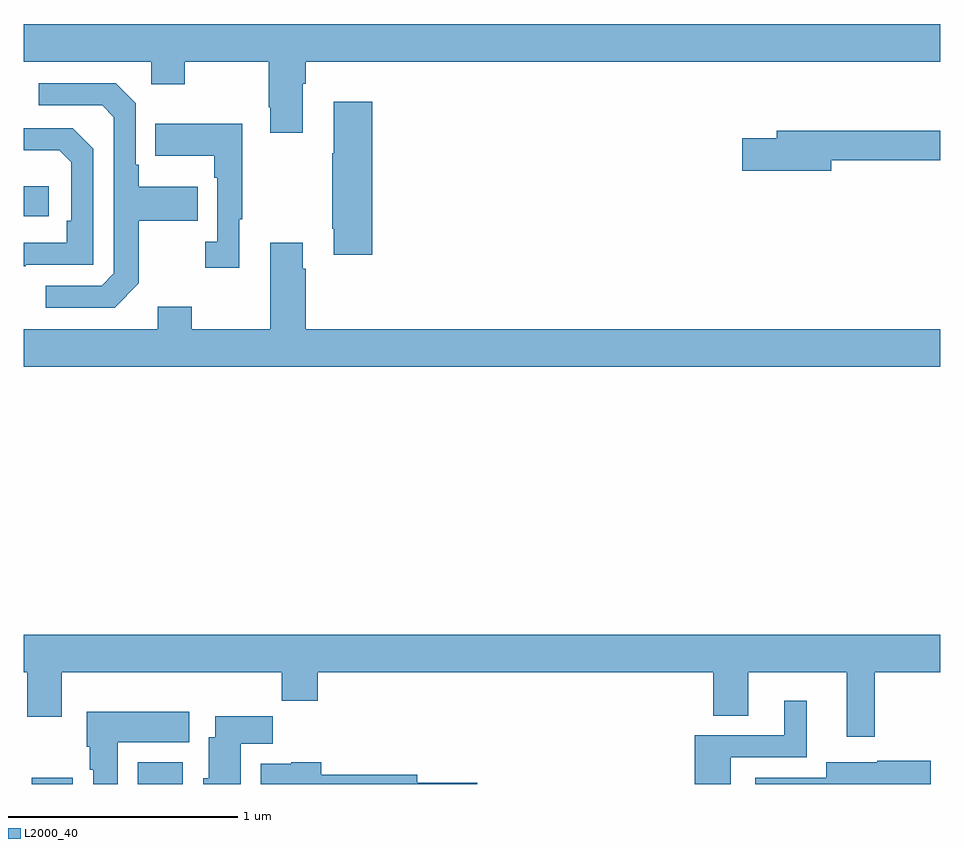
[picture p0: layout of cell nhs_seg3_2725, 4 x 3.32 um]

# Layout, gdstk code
import gdstk
lib = gdstk.Library(unit=1e-6, precision=1e-09)
def R(c, l, rs):  # rectangles x0, y0, x1, y1
    for r in rs: c.add(gdstk.rectangle(r[:2], r[2:], *l))
def P(c, l, *ps):  # polygons
    for p in ps: c.add(gdstk.Polygon(p, *l))
L2000_40 = (2000, 40)

nhs_seg3_2725 = lib.new_cell('nhs_seg3_2725')
R(nhs_seg3_2725, L2000_40, [(251.036,728.4,251.215,728.428), (251.499,728.4,251.695,728.494), (251,730.878,251.11,731.008)])
P(nhs_seg3_2725, L2000_40, [(252.217,731.456),(252.23,731.456),(252.23,731.552),(255,731.552),(255,731.716),(251,731.716),(251,731.552),(251.556,731.552),(251.556,731.453),(251.703,731.453),(251.703,731.552),(252.07,731.552),(252.07,731.353),(252.077,731.353),(252.077,731.241),(252.217,731.241)],
  [(251.503,730.585),(251.503,730.858),(251.759,730.858),(251.759,731.005),(251.503,731.005),(251.503,731.101),(251.49,731.101),(251.49,731.37),(251.403,731.457),(251.067,731.457),(251.067,731.361),(251.343,731.361),(251.394,731.31),(251.394,730.629),(251.34,730.575),(251.097,730.575),(251.097,730.479),(251.397,730.479)],
  [(252.521,731.377),(252.353,731.377),(252.353,731.153),(252.346,731.153),(252.346,730.822),(252.353,730.822),(252.353,730.71),(252.521,730.71)],
  [(251.941,730.865),(251.953,730.865),(251.953,731.281),(251.575,731.281),(251.575,731.141),(251.832,731.141),(251.832,731.045),(251.844,731.045),(251.844,730.766),(251.793,730.766),(251.793,730.653),(251.941,730.653)],
  [(251.009,730.665),(251.304,730.665),(251.304,731.172),(251.214,731.262),(251,731.262),(251,731.165),(251.155,731.165),(251.208,731.112),(251.208,730.858),(251.188,730.858),(251.188,730.761),(251,730.761),(251,730.66),(251.009,730.66)],
  [(254.524,731.122),(255,731.122),(255,731.251),(254.285,731.251),(254.285,731.217),(254.136,731.217),(254.136,731.075),(254.524,731.075)],
  [(255,730.384),(252.23,730.384),(252.23,730.649),(252.217,730.649),(252.217,730.762),(252.077,730.762),(252.077,730.384),(251.733,730.384),(251.733,730.483),(251.585,730.483),(251.585,730.384),(251,730.384),(251,730.22),(255,730.22)],
  [(254.713,728.888),(255,728.888),(255,729.052),(251,729.052),(251,728.888),(251.015,728.888),(251.015,728.694),(251.167,728.694),(251.167,728.888),(252.127,728.888),(252.127,728.764),(252.284,728.764),(252.284,728.888),(254.009,728.888),(254.009,728.698),(254.161,728.698),(254.161,728.888),(254.591,728.888),(254.591,728.607),(254.713,728.607)],
  [(254.086,728.517),(254.416,728.517),(254.416,728.764),(254.318,728.764),(254.318,728.613),(253.928,728.613),(253.928,728.4),(254.086,728.4)],
  [(251.41,728.582),(251.722,728.582),(251.722,728.716),(251.276,728.716),(251.276,728.562),(251.288,728.562),(251.288,728.462),(251.303,728.462),(251.303,728.4),(251.41,728.4)],
  [(251.947,728.576),(252.086,728.576),(252.086,728.695),(251.837,728.695),(251.837,728.605),(251.807,728.605),(251.807,728.424),(251.783,728.424),(251.783,728.4),(251.947,728.4)],
  [(254.959,728.502),(254.724,728.502),(254.724,728.494),(254.501,728.494),(254.501,728.427),(254.193,728.427),(254.193,728.4),(254.959,728.4)],
  [(252.979,728.406),(252.718,728.406),(252.718,728.44),(252.299,728.44),(252.299,728.494),(252.168,728.494),(252.168,728.488),(252.035,728.488),(252.035,728.4),(252.979,728.4)])

lib.write_gds('nhs_seg3_2725.gds')
